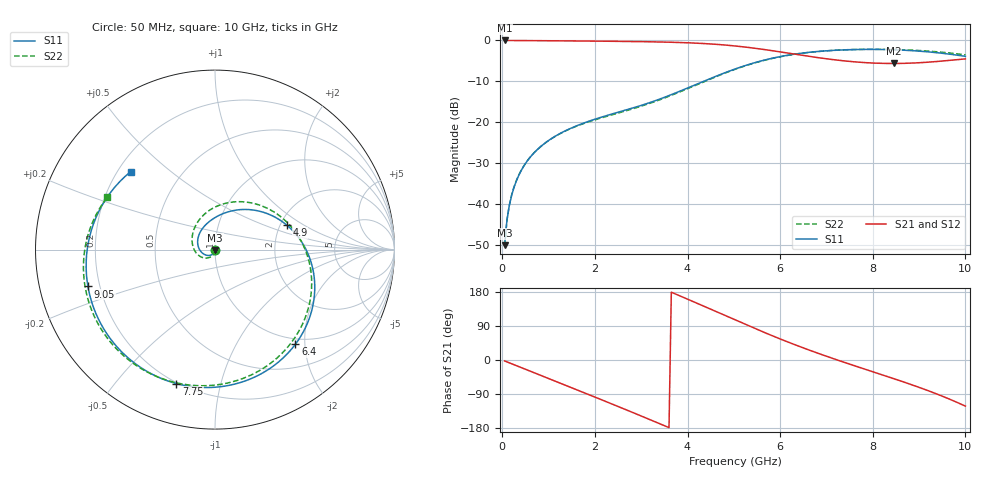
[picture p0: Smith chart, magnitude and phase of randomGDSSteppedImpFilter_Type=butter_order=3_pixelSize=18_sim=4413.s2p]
! freq	dB(S11)	phase(S11)	dB(S12)	phase(S12)
!  dB(S21)	phase(S21)	dB(S22)	phase(S22)
!S-par simulation data
#  GHz  S  DB  R 50
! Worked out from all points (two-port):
!   200 points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, 50 MHz to 10 GHz, reference 50 ohm
!   highest |S21| = 0.00 dB at 50 MHz (marker M1); lowest = -5.6 dB at 8.45 GHz (marker M2)
!   |S21| within 3 dB of the highest: start of sweep to 6.121 GHz
!   lowest |S11| = -50.0 dB at 50 MHz (marker M3), VSWR 1.01, Z = 50 - j0.317 ohm
!   |S11| at or under -10 dB: start of sweep to 4.341 GHz
!   |S22| runs from -50.2 to -2.2 dB; largest |S21 - S12| = 0
!   S11 on the Smith chart (normalised r, x): 50 MHz: 1.00, -0.01; 4.9 GHz: 2.17, +0.72; 6.4 GHz: 0.90, -1.81; 7.75 GHz: 0.19, -0.73; 9.05 GHz: 0.15, -0.14; 10 GHz: 0.25, +0.37
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0.05  -49.96 -87.2  -0.00 -2.5  -0.00 -2.5  -50.20 -89.0
0.1  -43.88 -93.2  -0.01 -4.9  -0.01 -4.9  -43.95 -91.4
0.2  -37.86 -100.8  -0.02 -9.8  -0.02 -9.8  -37.78 -96.8
0.45  -30.92 -116.8  -0.04 -22.0  -0.04 -22.0  -30.88 -108.2
1.15  -23.32 -159.1  -0.08 -56.2  -0.08 -56.2  -23.35 -136.0
1.75  -20.19 165.9  -0.14 -85.5  -0.14 -85.5  -20.30 -160.4
2.5  -17.52 124.4  -0.22 -122.6  -0.22 -122.6  -17.73 165.9
2.95  -16.03 102.6  -0.28 -145.2  -0.28 -145.2  -16.22 142.8
3.4  -14.30 82.9  -0.37 -168.2  -0.37 -168.2  -14.48 117.1
4.1  -11.14 53.8  -0.61 155.3  -0.61 155.3  -11.28 73.6
4.9  -7.49 18.9  -1.21 112.6  -1.21 112.6  -7.56 23.9
5.05  -6.88 12.1  -1.37 104.5  -1.37 104.5  -6.94 14.9
5.7  -4.68 -17.9  -2.29 70.6  -2.29 70.6  -4.73 -22.0
6.4  -3.20 -49.6  -3.49 36.5  -3.49 36.5  -3.23 -57.7
6.7  -2.81 -62.6  -4.01 22.9  -4.01 22.9  -2.83 -71.6
7.2  -2.39 -83.6  -4.76 1.5  -4.76 1.5  -2.39 -93.2
7.75  -2.19 -106.1  -5.35 -20.9  -5.35 -20.9  -2.18 -115.3
8.35  -2.25 -131.2  -5.62 -45.0  -5.62 -45.0  -2.18 -138.3
8.45  -2.28 -135.6  -5.62 -49.0  -5.62 -49.0  -2.21 -142.1
9.05  -2.65 -163.8  -5.41 -74.4  -5.41 -74.4  -2.49 -165.4
9.55  -3.20 168.1  -4.97 -97.8  -4.97 -97.8  -2.93 174.1
10  -3.88 137.3  -4.50 -121.7  -4.50 -121.7  -3.52 154.0
